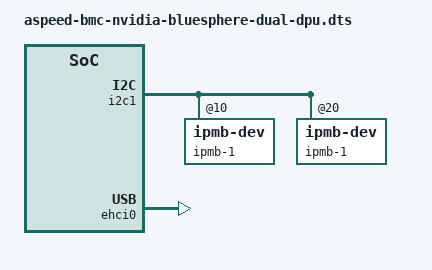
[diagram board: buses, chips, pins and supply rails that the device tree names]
// SPDX-License-Identifier: GPL-2.0+
/dts-v1/;

#include "aspeed-bmc-nvidia-bluesphere-base.dtsi"

/ {
	chosen {
		stdout-path = &uart5;
		bootargs = "console=ttyS4,115200n8 earlyprintk";
	};
};

&gpio {
	gpio-line-names =
	/*A0-A7*/       "","","","","","","","",
	/*B0-B7*/       "","","","","","","","",
	/*C0-C7*/       "","cec_int","","","","","","",
	/*D0-D7*/       "","","","","","","","",
	/*E0-E7*/       "","","","","","","","",
	/*F0-F7*/       "","","","","","","","",
	/*G0-G7*/       "","","","","","","","",
	/*H0-H7*/       "","","","","","","","",
	/*I0-I7*/       "","","","","","","","",
	/*J0-J7*/       "","","","","","","","",
	/*K0-K7*/       "","","","","","","","",
	/*L0-L7*/       "","","","","","","","",
	/*M0-M7*/       "","","","","","","","",
	/*N0-N7*/       "bf2_soc_hard_rst","bf2_nsrst_arm","bf2_arm_soft_reset","","","tor_eswitch_reset","nic_bmc_ctrl0","",
	/*O0-O7*/       "","","","","","","","nic_bmc_ctrl1",
	/*P0-P7*/       "","","perst","","","","","",
	/*Q0-Q7*/       "","","","","","","","",
	/*R0-R7*/       "","","","","","","","",
	/*S0-S7*/       "","","","","","","","",
	/*T0-T7*/       "","","","","","","","",
	/*U0-U7*/       "","","","","","","","",
	/*V0-V7*/       "","","","","","","","",
	/*W0-W7*/       "","","","","","","","",
	/*X0-X7*/       "","","","","","","","",
	/*Y0-Y7*/       "","","","","","","","",
	/*Z0-Z7*/       "","","","","","","","",
	/*AA0-AA7*/     "","","","","","","","",
	/*AB0-AB7*/     "","","","","","","","",
	/*AC0-AC7*/     "","","","","","","","";

};

&i2c1 {
	status = "okay";
	multi-master;
	// BF to BMC
	ipmb-1@10 {
		compatible = "ipmb-dev";
		// TODO: replace with 0x40000000 with I2C_OWN_SLAVE_ADDRESS
		reg = <(0x10 | 0x40000000)>;
		i2c-protocol;
	};
	// BMC to BF
	ipmb-1@20 {
		compatible = "ipmb-dev";
		// TODO: replace with 0x40000000 with I2C_OWN_SLAVE_ADDRESS
		reg = <(0x20 | 0x40000000)>;
		i2c-protocol;
	};
};

&ehci0 {
	status = "okay";
};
